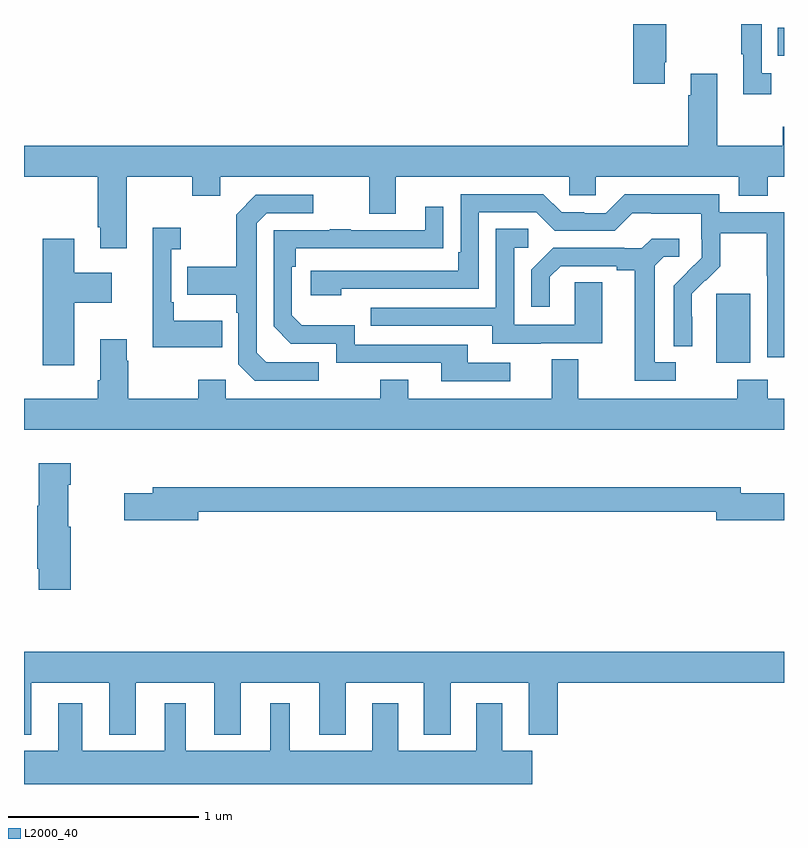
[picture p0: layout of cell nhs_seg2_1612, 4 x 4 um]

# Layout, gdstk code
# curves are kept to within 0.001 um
import gdstk
lib = gdstk.Library(unit=1e-6, precision=1e-09)
def R(c, l, rs):  # rectangles x0, y0, x1, y1
    for r in rs: c.add(gdstk.rectangle(r[:2], r[2:], *l))
def P(c, l, *ps):  # polygons
    for p in ps: c.add(gdstk.Polygon(p, *l))
L2000_40 = (2000, 40)

nhs_seg2_1612 = lib.new_cell('nhs_seg2_1612')
R(nhs_seg2_1612, L2000_40, [(198.644,620.018,198.823,620.379), (198.967,621.634,199,621.781)])
P(nhs_seg2_1612, L2000_40, [(198.373,621.598),(198.381,621.598),(198.381,621.8),(198.206,621.8),(198.206,621.486),(198.373,621.486)],
  [(198.934,621.542),(198.882,621.542),(198.882,621.8),(198.774,621.8),(198.774,621.641),(198.785,621.641),(198.785,621.429),(198.934,621.429)],
  [(195.541,620.996),(195.886,620.996),(195.886,620.897),(196.033,620.897),(196.033,620.996),(196.817,620.996),(196.817,620.802),(196.957,620.802),(196.957,620.996),(197.871,620.996),(197.871,620.898),(198.009,620.898),(198.009,620.996),(198.761,620.996),(198.761,620.897),(198.914,620.897),(198.914,620.996),(199,620.996),(199,621.259),(198.994,621.259),(198.994,621.16),(198.649,621.16),(198.649,621.538),(198.509,621.538),(198.509,621.425),(198.497,621.425),(198.497,621.16),(195,621.16),(195,620.996),(195.389,620.996),(195.389,620.731),(195.401,620.731),(195.401,620.619),(195.541,620.619)],
  [(199,620.808),(198.66,620.808),(198.66,620.905),(198.163,620.905),(198.063,620.805),(197.948,620.805),(197.948,620.808),(197.829,620.808),(197.733,620.904),(197.298,620.904),(197.298,620.599),(197.285,620.599),(197.285,620.502),(196.509,620.502),(196.509,620.372),(196.67,620.372),(196.67,620.406),(197.394,620.406),(197.394,620.808),(197.697,620.808),(197.793,620.712),(198.108,620.712),(198.201,620.805),(198.301,620.805),(198.301,620.801),(198.564,620.801),(198.564,620.667),(198.566,620.667),(198.566,620.57),(198.42,620.422),(198.42,620.104),(198.516,620.104),(198.515,620.381),(198.585,620.451),(198.588,620.448),(198.665,620.525),(198.665,620.7),(198.91,620.7),(198.91,620.476),(198.912,620.476),(198.912,620.047),(199,620.047)],
  [(196.552,620.019),(196.275,620.019),(196.224,620.07),(196.224,620.751),(196.278,620.805),(196.522,620.805),(196.522,620.901),(196.221,620.901),(196.116,620.795),(196.116,620.523),(195.859,620.523),(195.859,620.375),(196.116,620.375),(196.116,620.279),(196.128,620.279),(196.128,620.01),(196.215,619.923),(196.552,619.923)],
  [(197.56,620.016),(197.335,620.016),(197.335,620.112),(196.74,620.112),(196.74,620.215),(196.463,620.215),(196.41,620.268),(196.41,620.522),(196.43,620.522),(196.43,620.619),(197.207,620.62),(197.207,620.839),(197.111,620.839),(197.111,620.715),(196.721,620.715),(196.721,620.72),(196.609,620.72),(196.609,620.715),(196.314,620.715),(196.314,620.208),(196.404,620.118),(196.644,620.118),(196.644,620.016),(197.195,620.016),(197.195,619.92),(197.56,619.92)],
  [(196.043,620.239),(195.787,620.239),(195.787,620.335),(195.774,620.335),(195.774,620.615),(195.826,620.615),(195.826,620.728),(195.677,620.728),(195.677,620.099),(196.043,620.099)],
  [(197.719,620.121),(198.043,620.121),(198.043,620.441),(197.898,620.441),(197.898,620.217),(197.58,620.217),(197.58,620.622),(197.653,620.622),(197.653,620.723),(197.484,620.723),(197.484,620.307),(196.825,620.307),(196.825,620.211),(197.465,620.211),(197.465,620.117),(197.719,620.117)],
  [(195.265,620.333),(195.463,620.333),(195.463,620.491),(195.265,620.491),(195.265,620.671),(195.098,620.671),(195.098,620.004),(195.265,620.004)],
  [(198.43,620.019),(198.319,620.019),(198.319,620.527),(198.366,620.574),(198.448,620.574),(198.448,620.671),(198.304,620.671),(198.252,620.619),(198.158,620.619),(198.158,620.622),(197.786,620.622),(197.67,620.506),(197.67,620.313),(197.767,620.313),(197.767,620.469),(197.824,620.526),(198.119,620.526),(198.119,620.504),(198.215,620.504),(198.215,619.923),(198.43,619.923)],
  [(199,619.828),(198.914,619.828),(198.914,619.927),(198.754,619.927),(198.754,619.828),(197.917,619.828),(197.917,620.036),(197.777,620.036),(197.777,619.828),(197.023,619.828),(197.023,619.927),(196.876,619.927),(196.876,619.828),(196.062,619.828),(196.062,619.927),(195.916,619.927),(195.916,619.828),(195.549,619.828),(195.549,620.027),(195.541,620.027),(195.541,620.14),(195.401,620.14),(195.401,619.924),(195.389,619.924),(195.389,619.828),(195,619.828),(195,619.664),(199,619.664)],
  [(195.245,619.155),(195.232,619.155),(195.232,619.376),(195.245,619.376),(195.245,619.489),(195.077,619.489),(195.077,619.265),(195.07,619.265),(195.07,618.934),(195.077,618.934),(195.077,618.822),(195.245,618.822)],
  [(195.916,619.234),(198.644,619.234),(198.644,619.187),(199,619.187),(199,619.329),(198.772,619.329),(198.772,619.363),(195.677,619.363),(195.677,619.329),(195.528,619.329),(195.528,619.187),(195.916,619.187)],
  [(195.037,618.332),(195.449,618.332),(195.449,618.059),(195.589,618.059),(195.589,618.332),(196.001,618.332),(196.001,618.059),(196.141,618.059),(196.141,618.332),(196.553,618.332),(196.553,618.059),(196.693,618.059),(196.693,618.332),(197.105,618.332),(197.105,618.059),(197.245,618.059),(197.245,618.332),(197.657,618.332),(197.657,618.059),(197.81,618.059),(197.81,618.332),(199,618.332),(199,618.496),(195,618.496),(195,618.059),(195.037,618.059)],
  [(197.674,617.974),(197.518,617.974),(197.518,618.226),(197.381,618.226),(197.381,617.974),(196.969,617.974),(196.969,618.226),(196.832,618.226),(196.832,617.974),(196.399,617.974),(196.399,618.226),(196.295,618.226),(196.295,617.974),(195.85,617.974),(195.85,618.226),(195.74,618.226),(195.74,617.974),(195.307,617.974),(195.307,618.226),(195.179,618.226),(195.179,617.974),(195,617.974),(195,617.8),(197.674,617.8)])

lib.write_gds('nhs_seg2_1612.gds')
